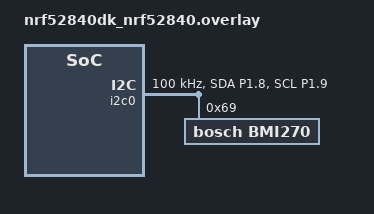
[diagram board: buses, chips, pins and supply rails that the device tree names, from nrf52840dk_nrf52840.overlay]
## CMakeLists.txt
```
cmake_minimum_required(VERSION 3.20.0)

find_package(Zephyr REQUIRED HINTS $ENV{ZEPHYR_BASE})
project(pet_tracker_rc)

target_sources(app PRIVATE
    src/main.c
    src/app_state.c
    src/state_machine/state_machine.c
    src/ble/ble_adv.c
    src/ble/tracker_service.c
    src/ble/data_transfer.c
    src/sensor/motion_sensor.c
    src/sensor/motion_button.c
    src/storage/flash_log.c
    src/power/power_mgmt.c
    src/ota/ota_stub.c
    src/drivers/haptic_stub.c
)

target_include_directories(app PRIVATE src)
```

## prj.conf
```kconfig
# --- Core ---
CONFIG_GPIO=y

# --- Bluetooth ---
CONFIG_BT=y
CONFIG_BT_PERIPHERAL=y
CONFIG_BT_DEVICE_NAME="RishiTracker"
CONFIG_BT_DEVICE_APPEARANCE=833

# Nordic UART Service, used by ble/data_transfer.c for chunked log dumps
CONFIG_BT_NUS=y

# --- Security / bonding ---
# Enables pairing + bond storage. The passkey-display bonding flow
# itself (verified working via nRF Connect per earlier project work)
# isn't among the five source files this RC consolidates from, so
# only the Kconfig side is wired in here - see README "Known
# Limitations".
CONFIG_BT_SMP=y
CONFIG_BT_BONDABLE=y
CONFIG_BT_SETTINGS=y
CONFIG_SETTINGS=y
CONFIG_FLASH=y
CONFIG_FLASH_MAP=y
CONFIG_FLASH_PAGE_LAYOUT=y
CONFIG_NVS=y

# --- Sensor (BMI270) ---
# Only exercised when app_config.h has TRACKER_SIM_MOTION set to 0.
CONFIG_SENSOR=y
CONFIG_BMI270=y

# --- Logging ---
# Over SEGGER RTT instead of the DK's USB CDC-ACM serial console - no
# COM port to find/open, works over the same J-Link connection you
# already flash through, and block mode means logs queue instead of
# dropping under load. Same settings the Tracker_X bring-up firmware
# already uses successfully.
CONFIG_LOG=y
CONFIG_LOG_MODE_DEFERRED=y
CONFIG_USE_SEGGER_RTT=y
CONFIG_LOG_BACKEND_RTT=y
CONFIG_SEGGER_RTT_BUFFER_SIZE_UP=4096
CONFIG_LOG_BACKEND_RTT_MODE_BLOCK=y

# Console/UART is redundant once RTT is the log backend - freeing it
# up also means one less thing fighting for P0.06/P0.08 if this ever
# moves from the DK to the Tracker_X board, where those pins are
# bare test points, not a console.
CONFIG_UART_CONSOLE=n
CONFIG_SERIAL=n
```

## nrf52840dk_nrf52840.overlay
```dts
/*
 * Repins the nRF52840 DK's I2C0 (TWIM0) to the Tracker_X sensor bus
 * (P1.08 SDA / P1.09 SCL) and declares the BMI270 IMU that lives on
 * it at 0x69. This is what makes CONFIG_BMI270=y in prj.conf actually
 * take effect - without a devicetree node, Kconfig silently drops it
 * back to 'n'.
 *
 * &i2c0 shares its peripheral instance with TWI/SPI/UART on the
 * nRF52840, and the base board .dts binds it to the plain,
 * non-DMA "nordic,nrf-twi" by default. zephyr,concat-buf-size is a
 * TWIM-only (EasyDMA) property, so the compatible override below is
 * required before that property - or the BMI270 driver, which needs
 * TWIM - will resolve at all.
 *
 * Pin map / address per TrackerX_Firmware_Developer_Guide.md §5.1, §9.4.
 */

#include <zephyr/dt-bindings/pinctrl/nrf-pinctrl.h>

&pinctrl {
    i2c0_default: i2c0_default {
        group1 {
            psels = <NRF_PSEL(TWIM_SDA, 1, 8)>,
                    <NRF_PSEL(TWIM_SCL, 1, 9)>;
            bias-pull-up;
        };
    };

    i2c0_sleep: i2c0_sleep {
        group1 {
            psels = <NRF_PSEL(TWIM_SDA, 1, 8)>,
                    <NRF_PSEL(TWIM_SCL, 1, 9)>;
            low-power-enable;
        };
    };
};

&i2c0 {
    compatible = "nordic,nrf-twim";
    status = "okay";
    pinctrl-0 = <&i2c0_default>;
    pinctrl-1 = <&i2c0_sleep>;
    pinctrl-names = "default", "sleep";
    clock-frequency = <100000>;
    zephyr,concat-buf-size = <512>;

    bmi270@69 {
        compatible = "bosch,bmi270";
        reg = <0x69>;
        status = "okay";
    };
};
```

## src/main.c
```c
#include <zephyr/kernel.h>
#include <zephyr/logging/log.h>

#include "app_state.h"
#include "state_machine/state_machine.h"
#include "ble/ble_adv.h"
#include "sensor/motion_sensor.h"
#include "sensor/motion_button.h"
#include "storage/flash_log.h"
#include "power/power_mgmt.h"
#include "ota/ota_stub.h"
#include "drivers/haptic_stub.h"

LOG_MODULE_REGISTER(app_main, LOG_LEVEL_INF);

/*
 * Single init chain, replacing five separate main()s from the
 * standalone modules. Order matters:
 *   1. app_state / storage / power / ota / haptic - no dependencies
 *      on Bluetooth or motion, safe to bring up first.
 *   2. state_machine - MUST be initialized before anything that can
 *      call state_machine_on_motion_event() (motion_sensor's real
 *      BMI270 IRQ, its simulated timer, or motion_button's GPIO IRQ
 *      below). That call submits a k_work item, and k_work_submit()
 *      on an item that hasn't been k_work_init()'d yet is undefined
 *      behavior. Originally this ran AFTER motion_sensor_init(),
 *      which is a real (if extremely narrow) boot-order race - found
 *      while writing the test suite, see TEST_REPORT.md.
 *   3. ble_adv - owns bt_enable(); tracker_service + data_transfer
 *      are initialized from inside its ready callback so GATT/NUS
 *      registration always happens after the BT stack is up.
 *   4. motion_sensor / motion_button - both safe to arm now that the
 *      state machine can actually accept an event.
 */
int main(void)
{
    LOG_INF("=== Pet Tracker RC booting ===");

    app_state_init();
    storage_init();
    power_mgmt_init();
    ota_init();
    haptic_init();

    state_machine_init();

    ble_adv_init();

    int err = motion_sensor_init();
    if (err) {
        LOG_ERR("motion_sensor_init failed: %d (continuing - BLE/state machine still run)", err);
    }

    motion_button_init();

    LOG_INF("Setup complete - RC pipeline running");

    k_sleep(K_FOREVER);
    return 0;
}
```

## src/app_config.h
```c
#ifndef APP_CONFIG_H_
#define APP_CONFIG_H_

/*
 * Set to 0 once a physical BMI270 is wired to the DK and you want to
 * run off the real any-motion interrupt instead of the simulated
 * timer. Kept as a plain #define rather than a Kconfig option so it
 * doesn't depend on getting an out-of-tree Kconfig fragment sourced
 * correctly - flip this one line and rebuild.
 */
#define TRACKER_SIM_MOTION 1

#endif /* APP_CONFIG_H_ */
```

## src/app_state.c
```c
#include "app_state.h"

struct k_mutex storage_lock;
atomic_t ota_active = ATOMIC_INIT(0);
atomic_t ble_transfer_active = ATOMIC_INIT(0);

void app_state_init(void)
{
    k_mutex_init(&storage_lock);
}
```

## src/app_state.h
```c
#ifndef APP_STATE_H_
#define APP_STATE_H_

#include <zephyr/kernel.h>

/*
 * Shared coordination primitives.
 *
 * These exist ONLY because the individual modules were built in
 * isolation and, once combined, touch the same resources at the
 * same time. See architecture.md -> "Integration Conflicts" for the
 * story behind each one.
 */

/* Guards storage_save() / storage_read() / storage_erase() so a BLE
 * log dump can never read the flash/RAM log while the state machine
 * is mid-write to it.  (Conflict: "Flash + BLE") */
extern struct k_mutex storage_lock;

/* Set for the duration of an OTA image transfer. power_mgmt refuses
 * to let the CPU sleep while this is set.  (Conflict: "OTA + Power") */
extern atomic_t ota_active;

/* Set for the duration of a BLE log/data transfer (NUS chunk send).
 * The state machine checks this before firing a new BLE_NOTIFY
 * transition so a fresh motion notification can never interleave
 * with an in-progress log dump.  (Conflict: "Notification + Data
 * Transfer") */
extern atomic_t ble_transfer_active;

void app_state_init(void);

#endif /* APP_STATE_H_ */
```
